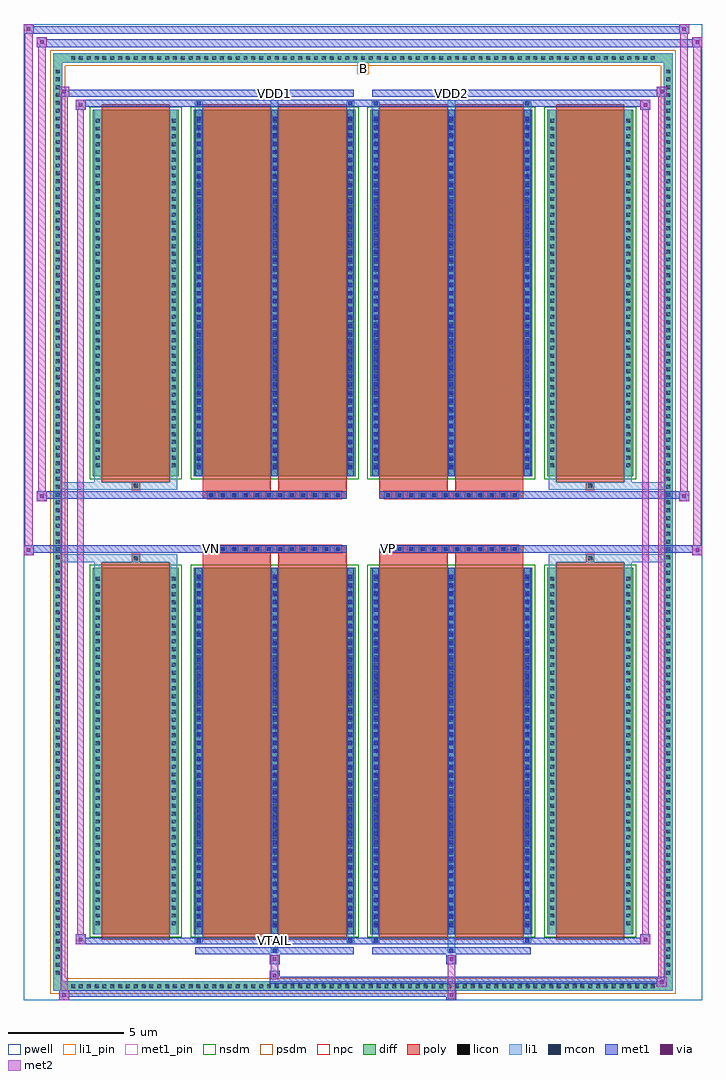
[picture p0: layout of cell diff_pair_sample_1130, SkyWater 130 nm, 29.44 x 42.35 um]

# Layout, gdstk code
import gdstk
lib = gdstk.Library(unit=1e-6, precision=5e-09)
def R(c, l, rs):  # rectangles x0, y0, x1, y1
    for r in rs: c.add(gdstk.rectangle(r[:2], r[2:], *l))
def A(c, l, x, y, w, h, nx, ny, dx, dy):  # array of equal rectangles
    R(c, l, [(x+i*dx, y+j*dy, x+i*dx+w, y+j*dy+h) for i in range(nx) for j in range(ny)])
def P(c, l, *ps):  # polygons
    for p in ps: c.add(gdstk.Polygon(p, *l))
pwell = (64, 44)
diff = (65, 20)
poly = (66, 20)
licon = (66, 44)
li1_pin = (67, 16)
li1 = (67, 20)
mcon = (67, 44)
met1_pin = (68, 16)
met1 = (68, 20)
via = (68, 44)
met2 = (69, 20)
nsdm = (93, 44)
psdm = (94, 20)
npc = (95, 20)

diff_pair_sample_1130 = lib.new_cell('diff_pair_sample_1130')
R(diff_pair_sample_1130, pwell, [(-14.72,-20.74,14.72,21.61), (-12.04,-18.93,-0.01,-0.805), (0.01,-18.93,12.04,-0.805), (-12.04,0.805,-0.01,18.93), (0.01,0.805,12.04,18.93)])
A(diff_pair_sample_1130, diff, -12.785, -20.34, 0.41, 0.41, 75, 2, 0.34, 40.27)
A(diff_pair_sample_1130, diff, -13.45, -19.755, 0.41, 0.41, 1, 116, 0, 0.34)
A(diff_pair_sample_1130, diff, 13.04, -19.755, 0.41, 0.41, 1, 116, 0, 0.34)
R(diff_pair_sample_1130, diff, [(-12.785,-20.34,12.785,-19.93), (-13.45,-19.755,-13.04,19.755), (13.04,-19.755,13.45,19.755), (-11.73,-17.885,-7.99,-1.985), (-7.35,-17.885,-0.32,-1.985), (0.32,-17.885,7.35,-1.985), (7.99,-17.885,11.73,-1.985), (-11.73,1.985,-7.99,17.885), (-7.35,1.985,-0.32,17.885), (0.32,1.985,7.35,17.885), (7.99,1.985,11.73,17.885), (-12.785,19.93,12.785,20.34)])
P(diff_pair_sample_1130, diff, [(13.45,20.34),(-13.45,20.34),(-13.45,-19.93),(-13.04,-19.93),(-13.04,19.93),(13.04,19.93),(13.04,-19.93),(-13.04,-19.93),(-13.45,-19.93),(-13.45,-20.34),(13.45,-20.34)])
A(diff_pair_sample_1130, poly, -6.75, -1.335, 0.33, 0.33, 12, 2, 0.5, 2.34)
A(diff_pair_sample_1130, poly, 0.92, -1.335, 0.33, 0.33, 12, 2, 0.5, 2.34)
R(diff_pair_sample_1130, poly, [(-11.34,-18.135,-8.38,-1.735), (-6.96,-18.135,-4,-1.735), (-3.67,-18.135,-0.71,-1.735), (0.71,-18.135,3.67,-1.735), (4,-18.135,6.96,-1.735), (8.38,-18.135,11.34,-1.735), (-10.025,-1.735,-9.695,-1.405), (-10.025,-1.735,-9.695,-1.405), (-6.96,-1.735,-4,-1.335), (-3.67,-1.735,-0.71,-1.335), (0.71,-1.735,3.67,-1.335), (4,-1.735,6.96,-1.335), (9.695,-1.735,10.025,-1.405), (9.695,-1.735,10.025,-1.405), (-6.96,-1.335,-0.71,-1.005), (0.71,-1.335,6.96,-1.005), (-6.96,1.005,-0.71,1.335), (0.71,1.005,6.96,1.335), (-6.96,1.335,-4,1.735), (-3.67,1.335,-0.71,1.735), (0.71,1.335,3.67,1.735), (4,1.335,6.96,1.735), (-10.025,1.405,-9.695,1.735), (-10.025,1.405,-9.695,1.735), (9.695,1.405,10.025,1.735), (9.695,1.405,10.025,1.735), (-11.34,1.735,-8.38,18.135), (-6.96,1.735,-4,18.135), (-3.67,1.735,-0.71,18.135), (0.71,1.735,3.67,18.135), (4,1.735,6.96,18.135), (8.38,1.735,11.34,18.135)])
A(diff_pair_sample_1130, licon, -12.665, -20.22, 0.17, 0.17, 75, 2, 0.34, 40.27)
A(diff_pair_sample_1130, licon, -13.33, -19.635, 0.17, 0.17, 1, 116, 0, 0.34)
A(diff_pair_sample_1130, licon, 13.16, -19.635, 0.17, 0.17, 1, 116, 0, 0.34)
A(diff_pair_sample_1130, licon, -11.59, -17.5, 0.17, 0.17, 1, 45, 0, 0.34)
A(diff_pair_sample_1130, licon, -8.3, -17.5, 0.17, 0.17, 1, 45, 0, 0.34)
A(diff_pair_sample_1130, licon, -7.21, -17.5, 0.17, 0.17, 3, 45, 3.29, 0.34)
A(diff_pair_sample_1130, licon, 0.46, -17.5, 0.17, 0.17, 3, 45, 3.29, 0.34)
A(diff_pair_sample_1130, licon, 8.13, -17.5, 0.17, 0.17, 1, 45, 0, 0.34)
A(diff_pair_sample_1130, licon, 11.42, -17.5, 0.17, 0.17, 1, 45, 0, 0.34)
A(diff_pair_sample_1130, licon, -6.67, -1.255, 0.17, 0.17, 12, 2, 0.5, 2.34)
A(diff_pair_sample_1130, licon, 1, -1.255, 0.17, 0.17, 12, 2, 0.5, 2.34)
A(diff_pair_sample_1130, licon, -11.59, 2.37, 0.17, 0.17, 1, 45, 0, 0.34)
A(diff_pair_sample_1130, licon, -8.3, 2.37, 0.17, 0.17, 1, 45, 0, 0.34)
A(diff_pair_sample_1130, licon, -7.21, 2.37, 0.17, 0.17, 3, 45, 3.29, 0.34)
A(diff_pair_sample_1130, licon, 0.46, 2.37, 0.17, 0.17, 3, 45, 3.29, 0.34)
A(diff_pair_sample_1130, licon, 8.13, 2.37, 0.17, 0.17, 1, 45, 0, 0.34)
A(diff_pair_sample_1130, licon, 11.42, 2.37, 0.17, 0.17, 1, 45, 0, 0.34)
R(diff_pair_sample_1130, licon, [(-9.945,-1.655,-9.775,-1.485), (9.775,-1.655,9.945,-1.485), (-9.945,1.485,-9.775,1.655), (9.775,1.485,9.945,1.655)])
R(diff_pair_sample_1130, li1_pin, [(-0.25,19.43,0.25,19.93)])
A(diff_pair_sample_1130, li1, -12.745, -20.3, 0.33, 0.33, 75, 2, 0.34, 40.27)
A(diff_pair_sample_1130, li1, -13.41, -19.715, 0.33, 0.33, 1, 116, 0, 0.34)
A(diff_pair_sample_1130, li1, 13.08, -19.715, 0.33, 0.33, 1, 116, 0, 0.34)
A(diff_pair_sample_1130, li1, -7.29, -17.885, 0.33, 15.9, 3, 2, 3.29, 19.87)
A(diff_pair_sample_1130, li1, 0.38, -17.885, 0.33, 15.9, 3, 2, 3.29, 19.87)
A(diff_pair_sample_1130, li1, -11.67, -17.58, 0.33, 0.33, 1, 45, 0, 0.34)
A(diff_pair_sample_1130, li1, -8.38, -17.58, 0.33, 0.33, 1, 45, 0, 0.34)
A(diff_pair_sample_1130, li1, -7.29, -17.58, 0.33, 0.33, 3, 45, 3.29, 0.34)
A(diff_pair_sample_1130, li1, -7.21, -17.58, 0.17, 0.17, 3, 43, 3.29, 0.36)
A(diff_pair_sample_1130, li1, -7.21, -17.58, 0.17, 15.29, 3, 2, 3.29, 19.87)
A(diff_pair_sample_1130, li1, 0.38, -17.58, 0.33, 0.33, 3, 45, 3.29, 0.34)
A(diff_pair_sample_1130, li1, 0.46, -17.58, 0.17, 0.17, 3, 43, 3.29, 0.36)
A(diff_pair_sample_1130, li1, 0.46, -17.58, 0.17, 15.29, 3, 2, 3.29, 19.87)
A(diff_pair_sample_1130, li1, 8.05, -17.58, 0.33, 0.33, 1, 45, 0, 0.34)
A(diff_pair_sample_1130, li1, 11.34, -17.58, 0.33, 0.33, 1, 45, 0, 0.34)
A(diff_pair_sample_1130, li1, -6.75, -1.335, 0.33, 0.33, 12, 2, 0.5, 2.34)
A(diff_pair_sample_1130, li1, 0.92, -1.335, 0.33, 0.33, 12, 2, 0.5, 2.34)
A(diff_pair_sample_1130, li1, -11.67, 2.29, 0.33, 0.33, 1, 45, 0, 0.34)
A(diff_pair_sample_1130, li1, -8.38, 2.29, 0.33, 0.33, 1, 45, 0, 0.34)
A(diff_pair_sample_1130, li1, -7.29, 2.29, 0.33, 0.33, 3, 45, 3.29, 0.34)
A(diff_pair_sample_1130, li1, -7.21, 2.29, 0.17, 0.17, 3, 43, 3.29, 0.36)
A(diff_pair_sample_1130, li1, 0.38, 2.29, 0.33, 0.33, 3, 45, 3.29, 0.34)
A(diff_pair_sample_1130, li1, 0.46, 2.29, 0.17, 0.17, 3, 43, 3.29, 0.36)
A(diff_pair_sample_1130, li1, 8.05, 2.29, 0.33, 0.33, 1, 45, 0, 0.34)
A(diff_pair_sample_1130, li1, 11.34, 2.29, 0.33, 0.33, 1, 45, 0, 0.34)
R(diff_pair_sample_1130, li1, [(-13.45,-20.34,-13.04,-19.93), (-13.45,-20.34,-13.04,-19.93), (-13.04,-20.34,13.04,-19.93), (13.04,-20.34,13.45,-19.93), (13.04,-20.34,13.45,-19.93), (-13.45,-19.93,-13.04,19.93), (13.04,-19.93,13.45,19.93), (-4,-18.69,-3.67,-17.885), (-3.92,-18.69,-3.75,-18.52), (3.67,-18.69,4,-17.885), (3.75,-18.69,3.92,-18.52), (-7.29,-18.26,-6.96,-17.885), (-7.21,-18.26,-7.04,-18.09), (-0.71,-18.26,-0.38,-17.885), (-0.63,-18.26,-0.46,-18.09), (0.38,-18.26,0.71,-17.885), (0.46,-18.26,0.63,-18.09), (6.96,-18.26,7.29,-17.885), (7.04,-18.26,7.21,-18.09), (-11.67,-17.885,-11.34,-1.985), (-8.38,-17.885,-8.05,-1.985), (8.05,-17.885,8.38,-1.985), (11.34,-17.885,11.67,-1.985), (-11.67,-1.985,-11.34,-1.405), (-8.38,-1.985,-8.05,-1.405), (8.05,-1.985,8.38,-1.405), (11.34,-1.985,11.67,-1.405), (-13.45,-1.735,-10.025,-1.405), (-11.67,-1.735,-10.025,-1.405), (-10.025,-1.735,-9.695,-1.405), (-9.695,-1.735,-8.05,-1.405), (8.05,-1.735,9.695,-1.405), (9.695,-1.735,10.025,-1.405), (9.695,-1.735,13.45,-1.405), (10.025,-1.735,11.67,-1.405), (-13.45,1.405,-10.025,1.735), (-11.67,1.405,-10.025,1.735), (-11.67,1.405,-11.34,1.985), (-10.025,1.405,-9.695,1.735), (-9.695,1.405,-8.05,1.735), (-8.38,1.405,-8.05,1.985), (8.05,1.405,9.695,1.735), (8.05,1.405,8.38,1.985), (9.695,1.405,10.025,1.735), (9.695,1.405,13.45,1.735), (10.025,1.405,11.67,1.735), (11.34,1.405,11.67,1.985), (-11.67,1.985,-11.34,17.885), (-8.38,1.985,-8.05,17.885), (8.05,1.985,8.38,17.885), (11.34,1.985,11.67,17.885), (-7.29,17.885,-6.96,18.26), (-4,17.885,-3.67,18.69), (-0.71,17.885,-0.38,18.26), (0.38,17.885,0.71,18.26), (3.67,17.885,4,18.69), (6.96,17.885,7.29,18.26), (-7.21,18.09,-7.04,18.26), (-0.63,18.09,-0.46,18.26), (0.46,18.09,0.63,18.26), (7.04,18.09,7.21,18.26), (-3.92,18.52,-3.75,18.69), (3.75,18.52,3.92,18.69), (-13.45,19.93,-13.04,20.34), (-13.45,19.93,-13.04,20.34), (-13.04,19.93,13.04,20.34), (13.04,19.93,13.45,20.34), (13.04,19.93,13.45,20.34)])
A(diff_pair_sample_1130, mcon, -7.21, -17.58, 0.17, 0.17, 3, 43, 3.29, 0.36)
A(diff_pair_sample_1130, mcon, 0.46, -17.58, 0.17, 0.17, 3, 43, 3.29, 0.36)
A(diff_pair_sample_1130, mcon, -6.67, -1.255, 0.17, 0.17, 12, 2, 0.5, 2.34)
A(diff_pair_sample_1130, mcon, 1, -1.255, 0.17, 0.17, 12, 2, 0.5, 2.34)
A(diff_pair_sample_1130, mcon, -7.21, 2.29, 0.17, 0.17, 3, 43, 3.29, 0.36)
A(diff_pair_sample_1130, mcon, 0.46, 2.29, 0.17, 0.17, 3, 43, 3.29, 0.36)
R(diff_pair_sample_1130, mcon, [(-3.92,-18.69,-3.75,-18.52), (3.75,-18.69,3.92,-18.52), (-7.21,-18.26,-7.04,-18.09), (-0.63,-18.26,-0.46,-18.09), (0.46,-18.26,0.63,-18.09), (7.04,-18.26,7.21,-18.09), (-7.21,18.09,-7.04,18.26), (-0.63,18.09,-0.46,18.26), (0.46,18.09,0.63,18.26), (7.04,18.09,7.21,18.26), (-3.92,18.52,-3.75,18.69), (3.75,18.52,3.92,18.69)])
R(diff_pair_sample_1130, met1_pin, [(-3.97,-18.3,-3.7,-18.03), (-6.72,-1.295,-6.45,-1.025), (0.95,-1.295,1.22,-1.025), (-3.97,18.48,-3.7,18.75), (3.7,18.48,3.97,18.75)])
A(diff_pair_sample_1130, met1, -7.27, -17.885, 0.29, 15.9, 3, 2, 3.29, 19.87)
A(diff_pair_sample_1130, met1, 0.4, -17.885, 0.29, 15.9, 3, 2, 3.29, 19.87)
A(diff_pair_sample_1130, met1, -7.27, -17.64, 0.29, 0.29, 3, 43, 3.29, 0.36)
A(diff_pair_sample_1130, met1, 0.4, -17.64, 0.29, 0.29, 3, 43, 3.29, 0.36)
A(diff_pair_sample_1130, met1, -6.73, -1.315, 0.29, 0.29, 12, 2, 0.5, 2.34)
A(diff_pair_sample_1130, met1, 0.94, -1.315, 0.29, 0.29, 12, 2, 0.5, 2.34)
A(diff_pair_sample_1130, met1, -7.27, 2.23, 0.29, 0.29, 3, 43, 3.29, 0.36)
A(diff_pair_sample_1130, met1, 0.4, 2.23, 0.29, 0.29, 3, 43, 3.29, 0.36)
R(diff_pair_sample_1130, met1, [(-13.18,-20.74,-12.75,-20.31), (3.62,-20.74,4.05,-20.31), (-13.18,-20.6,4.05,-20.31), (12.75,-20.17,13.18,-19.74), (-4.05,-20.03,13.18,-19.74), (-4.05,-19.89,-3.62,-19.46), (-4.05,-19.18,-3.62,-18.75), (3.62,-19.18,4.05,-18.75), (-7.27,-18.75,-0.4,-18.46), (-3.98,-18.75,-3.69,-18.46), (0.4,-18.75,7.27,-18.46), (3.69,-18.75,3.98,-18.46), (-12.47,-18.32,-12.04,-17.89), (-12.47,-18.32,-7.27,-18.03), (-7.27,-18.32,-6.98,-18.03), (-7.27,-18.32,-0.4,-18.03), (-0.69,-18.32,-0.4,-18.03), (-0.4,-18.32,0.4,-18.03), (0.4,-18.32,0.69,-18.03), (0.4,-18.32,7.27,-18.03), (6.98,-18.32,7.27,-18.03), (7.27,-18.32,12.47,-18.03), (12.04,-18.32,12.47,-17.89), (-14.72,-1.435,-14.29,-1.005), (14.29,-1.435,14.72,-1.005), (-14.72,-1.335,-0.71,-1.005), (-6.96,-1.335,-0.71,-1.005), (0.71,-1.335,6.96,-1.005), (0.71,-1.335,14.72,-1.005), (-14.15,0.905,-13.72,1.335), (13.72,0.905,14.15,1.335), (-14.15,1.005,-6.96,1.335), (-6.96,1.005,-0.71,1.335), (0.71,1.005,6.96,1.335), (6.96,1.005,14.15,1.335), (-12.47,17.89,-12.04,18.32), (12.04,17.89,12.47,18.32), (-12.47,18.03,-7.27,18.32), (-7.27,18.03,-6.98,18.32), (-7.27,18.03,-0.4,18.32), (-0.69,18.03,-0.4,18.32), (-0.4,18.03,0.4,18.32), (0.4,18.03,0.69,18.32), (0.4,18.03,7.27,18.32), (6.98,18.03,7.27,18.32), (7.27,18.03,12.47,18.32), (-13.18,18.46,-12.75,18.89), (-13.18,18.46,-7.27,18.75), (-7.27,18.46,-0.4,18.75), (-3.98,18.46,-3.69,18.75), (0.4,18.46,7.27,18.75), (3.69,18.46,3.98,18.75), (7.27,18.46,13.18,18.75), (12.75,18.46,13.18,18.89), (-14.15,20.61,-13.72,21.04), (-14.15,20.61,-12.04,20.94), (-12.04,20.61,12.04,20.94), (12.04,20.61,14.72,20.94), (14.29,20.61,14.72,21.04), (-14.72,21.18,-14.29,21.61), (-14.72,21.18,-12.04,21.51), (-12.04,21.18,12.04,21.51), (12.04,21.18,14.15,21.51), (13.72,21.18,14.15,21.61)])
R(diff_pair_sample_1130, via, [(-13.04,-20.6,-12.89,-20.45), (3.76,-20.6,3.91,-20.45), (12.89,-20.03,13.04,-19.88), (-3.91,-19.75,-3.76,-19.6), (-3.91,-19.04,-3.76,-18.89), (3.76,-19.04,3.91,-18.89), (-12.33,-18.18,-12.18,-18.03), (12.18,-18.18,12.33,-18.03), (-14.58,-1.295,-14.43,-1.145), (14.43,-1.295,14.58,-1.145), (-14.01,1.045,-13.86,1.195), (13.86,1.045,14.01,1.195), (-12.33,18.03,-12.18,18.18), (12.18,18.03,12.33,18.18), (-13.04,18.6,-12.89,18.75), (12.89,18.6,13.04,18.75), (-14.01,20.75,-13.86,20.9), (14.43,20.75,14.58,20.9), (-14.58,21.32,-14.43,21.47), (13.86,21.32,14.01,21.47)])
R(diff_pair_sample_1130, met2, [(-13.18,-20.74,-12.75,-20.31), (-13.11,-20.74,-12.82,18.89), (-12.82,-20.74,-12.75,-20.31), (-13.13,-20.69,-12.8,-20.36), (3.67,-20.69,4,-20.36), (3.67,-20.36,4,-19.13), (12.75,-20.17,13.18,-19.74), (12.82,-20.17,13.11,18.89), (13.11,-20.17,13.18,-19.74), (12.8,-20.12,13.13,-19.79), (-4,-19.84,-3.67,-19.51), (-4,-19.51,-3.67,-19.13), (-4,-19.13,-3.67,-18.8), (3.67,-19.13,4,-18.8), (-12.47,-18.32,-12.04,-17.89), (-12.4,-18.32,-12.11,18.32), (-12.11,-18.32,-12.04,-17.89), (12.04,-18.32,12.47,-17.89), (12.11,-18.32,12.4,18.32), (12.4,-18.32,12.47,-17.89), (-12.42,-18.27,-12.09,-17.94), (12.09,-18.27,12.42,-17.94), (-14.72,-1.435,-14.29,-1.005), (-14.67,-1.435,-14.34,21.61), (-14.34,-1.435,-14.29,-1.005), (14.29,-1.435,14.72,-1.005), (14.34,-1.435,14.67,21.04), (14.67,-1.435,14.72,-1.005), (-14.67,-1.385,-14.34,-1.055), (14.34,-1.385,14.67,-1.055), (-14.15,0.905,-13.72,1.335), (-14.1,0.905,-13.77,21.04), (-13.77,0.905,-13.72,1.335), (13.72,0.905,14.15,1.335), (13.77,0.905,14.1,21.61), (14.1,0.905,14.15,1.335), (-14.1,0.955,-13.77,1.285), (13.77,0.955,14.1,1.285), (-12.47,17.89,-12.04,18.32), (-12.11,17.89,-12.04,18.32), (12.04,17.89,12.47,18.32), (12.4,17.89,12.47,18.32), (-12.42,17.94,-12.09,18.27), (12.09,17.94,12.42,18.27), (-13.18,18.46,-12.75,18.89), (-12.82,18.46,-12.75,18.89), (12.75,18.46,13.18,18.89), (13.11,18.46,13.18,18.89), (-13.13,18.51,-12.8,18.84), (12.8,18.51,13.13,18.84), (-14.15,20.61,-13.72,21.04), (-13.77,20.61,-13.72,21.04), (14.29,20.61,14.72,21.04), (14.67,20.61,14.72,21.04), (-14.1,20.66,-13.77,20.99), (14.34,20.66,14.67,20.99), (-14.72,21.18,-14.29,21.61), (-14.34,21.18,-14.29,21.61), (13.72,21.18,14.15,21.61), (14.1,21.18,14.15,21.61), (-14.67,21.23,-14.34,21.56), (13.77,21.23,14.1,21.56)])
R(diff_pair_sample_1130, nsdm, [(-11.86,-18.015,-7.86,-1.855), (-7.48,-18.015,-0.19,-1.855), (0.19,-18.015,7.48,-1.855), (7.86,-18.015,11.86,-1.855), (-11.86,1.855,-7.86,18.015), (-7.48,1.855,-0.19,18.015), (0.19,1.855,7.48,18.015), (7.86,1.855,11.86,18.015)])
P(diff_pair_sample_1130, psdm, [(13.58,20.47),(-13.58,20.47),(-13.58,-19.8),(-12.91,-19.8),(-12.91,19.8),(12.91,19.8),(12.91,-19.8),(-12.91,-19.8),(-13.58,-19.8),(-13.58,-20.47),(13.58,-20.47)])
A(diff_pair_sample_1130, npc, -6.77, -1.355, 0.37, 0.37, 12, 2, 0.5, 2.34)
A(diff_pair_sample_1130, npc, 0.9, -1.355, 0.37, 0.37, 12, 2, 0.5, 2.34)
R(diff_pair_sample_1130, npc, [(-10.045,-1.755,-9.675,-1.385), (9.675,-1.755,10.045,-1.385), (-6.77,-1.355,-5.9,-0.985), (-6.77,-1.355,-5.9,-0.985), (-6.27,-1.355,-5.4,-0.985), (-6.27,-1.355,-5.4,-0.985), (-5.77,-1.355,-4.9,-0.985), (-5.77,-1.355,-4.9,-0.985), (-5.27,-1.355,-4.4,-0.985), (-5.27,-1.355,-4.4,-0.985), (-4.77,-1.355,-3.9,-0.985), (-4.77,-1.355,-3.9,-0.985), (-4.27,-1.355,-3.4,-0.985), (-4.27,-1.355,-3.4,-0.985), (-3.77,-1.355,-2.9,-0.985), (-3.77,-1.355,-2.9,-0.985), (-3.27,-1.355,-2.4,-0.985), (-3.27,-1.355,-2.4,-0.985), (-2.77,-1.355,-1.9,-0.985), (-2.77,-1.355,-1.9,-0.985), (-2.27,-1.355,-1.4,-0.985), (-2.27,-1.355,-1.4,-0.985), (-1.77,-1.355,-0.9,-0.985), (-1.77,-1.355,-0.9,-0.985), (0.9,-1.355,1.77,-0.985), (0.9,-1.355,1.77,-0.985), (1.4,-1.355,2.27,-0.985), (1.4,-1.355,2.27,-0.985), (1.9,-1.355,2.77,-0.985), (1.9,-1.355,2.77,-0.985), (2.4,-1.355,3.27,-0.985), (2.4,-1.355,3.27,-0.985), (2.9,-1.355,3.77,-0.985), (2.9,-1.355,3.77,-0.985), (3.4,-1.355,4.27,-0.985), (3.4,-1.355,4.27,-0.985), (3.9,-1.355,4.77,-0.985), (3.9,-1.355,4.77,-0.985), (4.4,-1.355,5.27,-0.985), (4.4,-1.355,5.27,-0.985), (4.9,-1.355,5.77,-0.985), (4.9,-1.355,5.77,-0.985), (5.4,-1.355,6.27,-0.985), (5.4,-1.355,6.27,-0.985), (5.9,-1.355,6.77,-0.985), (5.9,-1.355,6.77,-0.985), (-6.77,0.985,-5.9,1.355), (-6.77,0.985,-5.9,1.355), (-6.27,0.985,-5.4,1.355), (-6.27,0.985,-5.4,1.355), (-5.77,0.985,-4.9,1.355), (-5.77,0.985,-4.9,1.355), (-5.27,0.985,-4.4,1.355), (-5.27,0.985,-4.4,1.355), (-4.77,0.985,-3.9,1.355), (-4.77,0.985,-3.9,1.355), (-4.27,0.985,-3.4,1.355), (-4.27,0.985,-3.4,1.355), (-3.77,0.985,-2.9,1.355), (-3.77,0.985,-2.9,1.355), (-3.27,0.985,-2.4,1.355), (-3.27,0.985,-2.4,1.355), (-2.77,0.985,-1.9,1.355), (-2.77,0.985,-1.9,1.355), (-2.27,0.985,-1.4,1.355), (-2.27,0.985,-1.4,1.355), (-1.77,0.985,-0.9,1.355), (-1.77,0.985,-0.9,1.355), (0.9,0.985,1.77,1.355), (0.9,0.985,1.77,1.355), (1.4,0.985,2.27,1.355), (1.4,0.985,2.27,1.355), (1.9,0.985,2.77,1.355), (1.9,0.985,2.77,1.355), (2.4,0.985,3.27,1.355), (2.4,0.985,3.27,1.355), (2.9,0.985,3.77,1.355), (2.9,0.985,3.77,1.355), (3.4,0.985,4.27,1.355), (3.4,0.985,4.27,1.355), (3.9,0.985,4.77,1.355), (3.9,0.985,4.77,1.355), (4.4,0.985,5.27,1.355), (4.4,0.985,5.27,1.355), (4.9,0.985,5.77,1.355), (4.9,0.985,5.77,1.355), (5.4,0.985,6.27,1.355), (5.4,0.985,6.27,1.355), (5.9,0.985,6.77,1.355), (5.9,0.985,6.77,1.355), (-10.045,1.385,-9.675,1.755), (9.675,1.385,10.045,1.755)])
diff_pair_sample_1130.add(gdstk.Label('VTAIL', (-3.835,-18.165), layer=68, texttype=5))
diff_pair_sample_1130.add(gdstk.Label('VN', (-6.585,-1.16), layer=68, texttype=5))
diff_pair_sample_1130.add(gdstk.Label('VP', (1.085,-1.16), layer=68, texttype=5))
diff_pair_sample_1130.add(gdstk.Label('B', (0,19.68), layer=67, texttype=5))
diff_pair_sample_1130.add(gdstk.Label('VDD2', (3.835,18.615), layer=68, texttype=5))
diff_pair_sample_1130.add(gdstk.Label('VDD1', (-3.835,18.615), layer=68, texttype=5))

lib.write_gds('diff_pair_sample_1130.gds')
